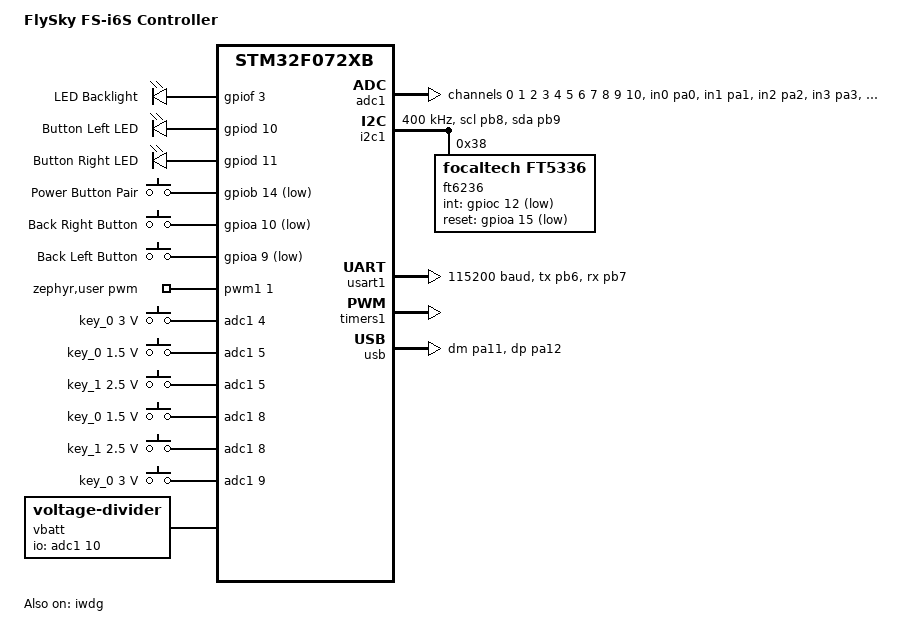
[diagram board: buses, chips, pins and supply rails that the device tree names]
/*
 * Copyright (c) 2026 Sahaj Sarup
 *
 * SPDX-License-Identifier: Apache-2.0
 */

/dts-v1/;
#include <st/f0/stm32f072Xb.dtsi>
#include <st/f0/stm32f072v(8-b)tx-pinctrl.dtsi>
#include <zephyr/dt-bindings/input/input-event-codes.h>
#include <zephyr/dt-bindings/mipi_dbi/mipi_dbi.h>
#include <zephyr/dt-bindings/clock/stm32_clock.h>
#include <zephyr/dt-bindings/adc/adc.h>
#include <zephyr/dt-bindings/pwm/pwm.h>

/ {
	model = "FlySky FS-i6S Controller";
	compatible = "flysky,fs_i6s";

	chosen {
		zephyr,console = &usart1;
		zephyr,shell-uart = &usart1;
		zephyr,touch = &ft6236;
		zephyr,sram = &sram0;
		zephyr,flash = &flash0;
	};

	leds {
		compatible = "gpio-leds";

		led_backlight: led_backlight {
			gpios = <&gpiof 3 GPIO_ACTIVE_HIGH>;
			label = "LED Backlight";
		};

		blue_left_button: led_left {
			gpios = <&gpiod 10 GPIO_ACTIVE_HIGH>;
			label = "Button Left LED";
		};

		blue_right_button: led_right {
			gpios = <&gpiod 11 GPIO_ACTIVE_HIGH>;
			label = "Button Right LED";
		};
	};

	analog_axis {
		compatible = "analog-axis";

		axis_r_x {
			io-channels = <&adc1 0>;
			in-deadzone = <100>;
			in-min = <300>;
			in-max = <3700>;
			zephyr,axis = <INPUT_ABS_RX>;
		};

		axis_r_y {
			io-channels = <&adc1 1>;
			in-deadzone = <100>;
			in-min = <300>;
			in-max = <3700>;
			zephyr,axis = <INPUT_ABS_RY>;
		};

		axis_l_y {
			io-channels = <&adc1 2>;
			in-deadzone = <100>;
			in-min = <300>;
			in-max = <3700>;
			zephyr,axis = <INPUT_ABS_Y>;
		};

		axis_l_x {
			io-channels = <&adc1 3>;
			in-deadzone = <100>;
			in-min = <300>;
			in-max = <3700>;
			zephyr,axis = <INPUT_ABS_X>;
		};

		vaa_x {
			io-channels = <&adc1 6>;
			in-deadzone = <100>;
			in-min = <400>;
			in-max = <3400>;
			zephyr,axis = <INPUT_ABS_WHEEL>;
		};

		vab_x {
			io-channels = <&adc1 7>;
			in-deadzone = <100>;
			in-min = <400>;
			in-max = <3400>;
			zephyr,axis = <INPUT_ABS_RUDDER>;
		};
	};

	buttons {
		compatible = "gpio-keys";

		power_button_pair: power_button {
			label = "Power Button Pair";
			gpios = <&gpiob 14 GPIO_ACTIVE_LOW>;
			zephyr,code = <INPUT_KEY_POWER>;
		};

		back_button_right: right_button {
			label = "Back Right Button";
			gpios = <&gpioa 10 GPIO_ACTIVE_LOW>;
			zephyr,code = <INPUT_BTN_RIGHT>;
		};

		back_button_left: left_button {
			label = "Back Left Button";
			gpios = <&gpioa 9 GPIO_ACTIVE_LOW>;
			zephyr,code = <INPUT_BTN_LEFT>;
		};
	};

	zephyr,user {
		pwms = <&pwm1 1 PWM_USEC(1500) PWM_POLARITY_NORMAL>;
	};

	switch_a {
		compatible = "adc-keys";
		io-channels = <&adc1 4>;
		keyup-threshold-mv = <0>;

		key_0 {
			press-thresholds-mv = <3000>, <3300>;
			zephyr,code = <INPUT_KEY_0>;
		};
	};

	switch_b {
		compatible = "adc-keys";
		io-channels = <&adc1 5>;
		keyup-threshold-mv = <0>;

		key_0 {
			press-thresholds-mv = <1500>, <2300>;
			zephyr,code = <INPUT_KEY_X>;
		};

		key_1 {
			press-thresholds-mv = <2500>, <3300>;
			zephyr,code = <INPUT_KEY_B>;
		};
	};

	switch_c {
		compatible = "adc-keys";
		io-channels = <&adc1 8>;
		keyup-threshold-mv = <0>;

		key_0 {
			press-thresholds-mv = <1500>, <2300>;
			zephyr,code = <INPUT_KEY_Y>;
		};

		key_1 {
			press-thresholds-mv = <2500>, <3300>;
			zephyr,code = <INPUT_KEY_C>;
		};
	};

	switch_d {
		compatible = "adc-keys";
		io-channels = <&adc1 9>;
		keyup-threshold-mv = <0>;

		key_0 {
			press-thresholds-mv = <3000>, <3300>;
			zephyr,code = <INPUT_KEY_D>;
		};
	};

	vbatt: voltage_divider {
		compatible = "voltage-divider";
		io-channels = <&adc1 10>;
		output-ohms = <5100>;
		full-ohms = <(10000 + 5100)>;
		status = "okay";
	};

	aliases {

		led0 = &blue_right_button;
		sw0 = &back_button_right;
		watchdog0 = &iwdg;
		wkup-src = &power_button_pair;
	};
};

&clk_hsi {
	clock-frequency = <DT_FREQ_M(8)>;
	status = "okay";
};

&pll {
	prediv = <1>;
	mul = <6>;
	clocks = <&clk_hsi>;
	status = "okay";
};

&rcc {
	clocks = <&pll>;
	clock-frequency = <DT_FREQ_M(48)>;
	ahb-prescaler = <1>;
	apb1-prescaler = <1>;
};

&adc1 {
	pinctrl-0 = <&adc_in0_pa0 &adc_in1_pa1
		     &adc_in2_pa2 &adc_in3_pa3
		     &adc_in4_pa4 &adc_in5_pa5
		     &adc_in6_pa6 &adc_in7_pa7
		     &adc_in8_pb0 &adc_in9_pb1
		     &adc_in10_pc0>;
	pinctrl-names = "default";
	#address-cells = <1>;
	#size-cells = <0>;
	status = "okay";

	st,adc-clock-source = "SYNC";
	st,adc-prescaler = <4>;

	dmas = <&dma1 1
		(STM32_DMA_PERIPH_TO_MEMORY | STM32_DMA_MEM_INC | STM32_DMA_PRIORITY_HIGH |
		 STM32_DMA_MEM_16BITS | STM32_DMA_PERIPH_16BITS)>;
	dma-names = "dmamux";

	vref-mv = <3300>;

	channel@0 {
		reg = <0>;
		zephyr,gain = "ADC_GAIN_1";
		zephyr,reference = "ADC_REF_INTERNAL";
		zephyr,acquisition-time = <ADC_ACQ_TIME(ADC_ACQ_TIME_TICKS, 42)>;
		zephyr,resolution = <12>;
	};

	channel@1 {
		reg = <1>;
		zephyr,gain = "ADC_GAIN_1";
		zephyr,reference = "ADC_REF_INTERNAL";
		zephyr,acquisition-time = <ADC_ACQ_TIME(ADC_ACQ_TIME_TICKS, 42)>;
		zephyr,resolution = <12>;
	};

	channel@2 {
		reg = <2>;
		zephyr,gain = "ADC_GAIN_1";
		zephyr,reference = "ADC_REF_INTERNAL";
		zephyr,acquisition-time = <ADC_ACQ_TIME(ADC_ACQ_TIME_TICKS, 42)>;
		zephyr,resolution = <12>;
	};

	channel@3 {
		reg = <3>;
		zephyr,gain = "ADC_GAIN_1";
		zephyr,reference = "ADC_REF_INTERNAL";
		zephyr,acquisition-time = <ADC_ACQ_TIME(ADC_ACQ_TIME_TICKS, 42)>;
		zephyr,resolution = <12>;
	};

	channel@4 {
		reg = <4>;
		zephyr,gain = "ADC_GAIN_1";
		zephyr,reference = "ADC_REF_INTERNAL";
		zephyr,acquisition-time = <ADC_ACQ_TIME(ADC_ACQ_TIME_TICKS, 42)>;
		zephyr,resolution = <12>;
	};

	channel@5 {
		reg = <5>;
		zephyr,gain = "ADC_GAIN_1";
		zephyr,reference = "ADC_REF_INTERNAL";
		zephyr,acquisition-time = <ADC_ACQ_TIME(ADC_ACQ_TIME_TICKS, 42)>;
		zephyr,resolution = <12>;
	};

	channel@6 {
		reg = <6>;
		zephyr,gain = "ADC_GAIN_1";
		zephyr,reference = "ADC_REF_INTERNAL";
		zephyr,acquisition-time = <ADC_ACQ_TIME(ADC_ACQ_TIME_TICKS, 42)>;
		zephyr,resolution = <12>;
	};

	channel@7 {
		reg = <7>;
		zephyr,gain = "ADC_GAIN_1";
		zephyr,reference = "ADC_REF_INTERNAL";
		zephyr,acquisition-time = <ADC_ACQ_TIME(ADC_ACQ_TIME_TICKS, 42)>;
		zephyr,resolution = <12>;
	};

	channel@8 {
		reg = <8>;
		zephyr,gain = "ADC_GAIN_1";
		zephyr,reference = "ADC_REF_INTERNAL";
		zephyr,acquisition-time = <ADC_ACQ_TIME(ADC_ACQ_TIME_TICKS, 42)>;
		zephyr,resolution = <12>;
	};

	channel@9 {
		reg = <9>;
		zephyr,gain = "ADC_GAIN_1";
		zephyr,reference = "ADC_REF_INTERNAL";
		zephyr,acquisition-time = <ADC_ACQ_TIME(ADC_ACQ_TIME_TICKS, 42)>;
		zephyr,resolution = <12>;
	};

	channel@a {
		reg = <0x0a>;
		zephyr,gain = "ADC_GAIN_1";
		zephyr,reference = "ADC_REF_INTERNAL";
		zephyr,acquisition-time = <ADC_ACQ_TIME(ADC_ACQ_TIME_TICKS, 42)>;
		zephyr,resolution = <12>;
	};
};

&i2c1 {
	pinctrl-0 = <&i2c1_scl_pb8 &i2c1_sda_pb9>;
	pinctrl-names = "default";
	status = "okay";
	clock-frequency = <I2C_BITRATE_FAST>;

	ft6236: ft5336@38 {
		compatible = "focaltech,ft5336";
		reg = <0x38>;
		swapped-x-y;
		screen-width = <128>;
		screen-height = <64>;
		int-gpios = <&gpioc 12 GPIO_ACTIVE_LOW>;
		reset-gpios = <&gpioa 15 GPIO_ACTIVE_LOW>;
	};
};

&usart1 {
	pinctrl-0 = <&usart1_tx_pb6 &usart1_rx_pb7>;
	pinctrl-names = "default";
	current-speed = <115200>;
	status = "okay";
};

&timers1 {
	st,prescaler = <10000>;
	status = "okay";

	pwm1: pwm {
		status = "okay";
		pinctrl-0 = <&tim1_ch1_pa8>;
		pinctrl-names = "default";
	};
};

&iwdg {
	status = "okay";
};

&dma1 {
	status = "okay";
};

zephyr_udc0: &usb {
	pinctrl-0 = <&usb_dm_pa11 &usb_dp_pa12>;
	pinctrl-names = "default";
	status = "okay";

	cdc_acm_uart0: cdc_acm_uart0 {
		compatible = "zephyr,cdc-acm-uart";
	};
};
